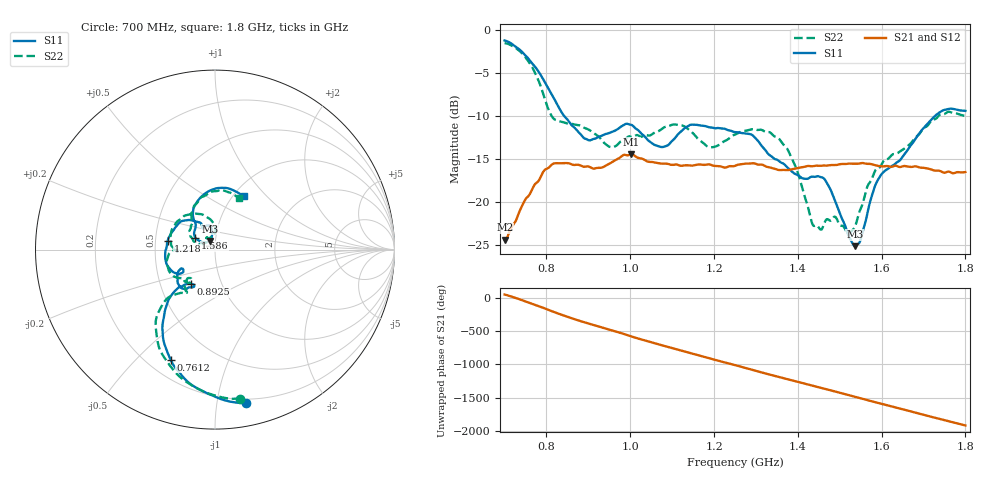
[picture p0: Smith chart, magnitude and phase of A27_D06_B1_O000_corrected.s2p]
! Created with skrf 1.9.0 (http://scikit-rf.org).
# Hz S RI R 50.0
!freq ReS11 ImS11 ReS21 ImS21 ReS12 ImS12 ReS22 ImS22
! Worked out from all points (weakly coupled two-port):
!   1601 points, 700 MHz to 1.8 GHz, reference 50 ohm
!   highest |S21| = -14.47 dB at 1.002 GHz (marker M1); lowest = -24.4 dB at 700.7 MHz (marker M2)
!   lowest |S11| = -25.2 dB at 1.536 GHz (marker M3), VSWR 1.12, Z = 47.2 + j4.59 ohm
!   |S11| at or under -10 dB: 842.4 MHz to 1.727 GHz (885 MHz wide, 68.9 % of centre)
!   |S22| runs from -23.8 to -1.5 dB; largest |S21 - S12| = 0.0034
!   S11 on the Smith chart (normalised r, x): 700 MHz: 0.17, -1.21; 761.2 MHz: 0.29, -0.63; 892.5 MHz: 0.72, -0.29; 1.218 GHz: 0.58, +0.06; 1.586 GHz: 0.80, +0.11; 1.8 GHz: 1.11, +0.75
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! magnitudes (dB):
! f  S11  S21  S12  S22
! 700 MHz  -1.2  -24.4  -24.2  -1.5
! 700.7 MHz  -1.2  -24.4  -24.1  -1.5
! 761.2 MHz  -3.6  -19.0  -18.9  -3.9
! 815.5 MHz  -7.7  -15.6  -15.6  -10.2
! 883.6 MHz  -12.2  -15.8  -15.7  -11.2
! 892.5 MHz  -12.7  -15.9  -15.9  -11.4
! 953 MHz  -11.9  -15.5  -15.5  -13.6
! 1.002 GHz  -11.0  -14.5  -14.6  -12.4
! 1.067 GHz  -13.5  -15.5  -15.4  -11.8
! 1.144 GHz  -11.0  -15.8  -15.8  -11.8
! 1.218 GHz  -11.5  -15.9  -15.9  -13.2
! 1.25 GHz  -11.9  -15.8  -15.7  -12.2
! 1.356 GHz  -15.3  -16.3  -16.2  -12.7
! 1.395 GHz  -16.8  -16.1  -16.1  -16.0
! 1.434 GHz  -17.1  -15.9  -15.8  -22.4
! 1.468 GHz  -17.7  -15.8  -15.7  -22.1
! 1.536 GHz  -25.2  -15.5  -15.6  -22.9
! 1.55 GHz  -24.3  -15.5  -15.5  -20.7
! 1.586 GHz  -17.9  -15.7  -15.7  -16.2
! 1.617 GHz  -16.1  -15.9  -15.8  -14.9
! 1.735 GHz  -9.7  -16.4  -16.4  -10.1
! 1.8 GHz  -9.4  -16.5  -16.5  -10.0
